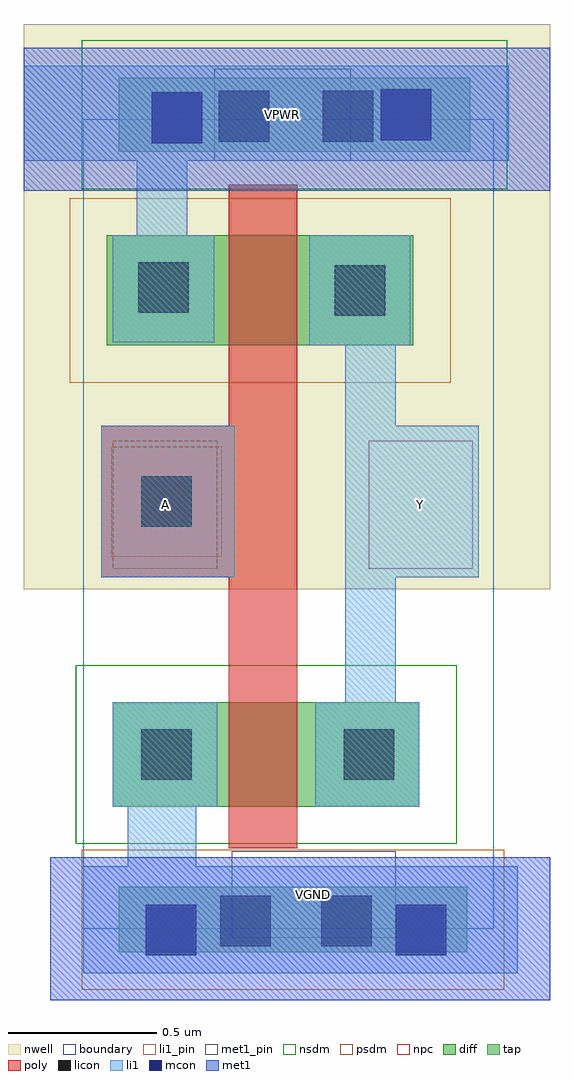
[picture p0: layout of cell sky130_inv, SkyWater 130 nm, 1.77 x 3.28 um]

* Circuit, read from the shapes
.subckt sky130_inv A VGND VPWR Y
XM1 Y A VGND VGND sky130_fd_pr__nfet_01v8 w=0.35 l=0.23
XM2 Y A VPWR VPWR sky130_fd_pr__pfet_01v8 w=0.37 l=0.23
.ends

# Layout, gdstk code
import gdstk
lib = gdstk.Library(unit=1e-6, precision=1e-09)
def R(c, l, rs):  # rectangles x0, y0, x1, y1
    for r in rs: c.add(gdstk.rectangle(r[:2], r[2:], *l))
nwell = (64, 20)
diff = (65, 20)
tap = (65, 44)
poly = (66, 20)
licon = (66, 44)
li1_pin = (67, 16)
li1 = (67, 20)
mcon = (67, 44)
met1_pin = (68, 16)
met1 = (68, 20)
nsdm = (93, 44)
psdm = (94, 20)
npc = (95, 20)
boundary = (235, 4)

sky130_inv = lib.new_cell('sky130_inv')
R(sky130_inv, nwell, [(-0.2,1.14,1.57,3.04)])
R(sky130_inv, diff, [(0.1,0.41,1.13,0.76), (0.08,1.96,1.11,2.33)])
R(sky130_inv, tap, [(0.12,-0.08,1.29,0.14), (0.12,2.61,1.3,2.86)])
R(sky130_inv, poly, [(0.49,0.27,0.72,1.18), (0.06,1.18,0.72,1.69), (0.49,1.69,0.72,2.5)])
R(sky130_inv, licon, [(0.46,-0.06,0.63,0.11), (0.8,-0.06,0.97,0.11), (0.195,0.5,0.365,0.67), (0.875,0.5,1.045,0.67), (0.195,1.35,0.365,1.52), (0.845,2.06,1.015,2.23), (0.185,2.07,0.355,2.24), (0.455,2.645,0.625,2.815), (0.805,2.645,0.975,2.815)])
R(sky130_inv, li1_pin, [(0.1,1.21,0.45,1.64), (0.96,1.21,1.31,1.64)])
R(sky130_inv, li1, [(0,-0.15,1.46,0.21), (0.15,0.21,0.38,0.41), (0.1,0.41,0.45,0.76), (0.78,0.41,1.13,0.76), (0.88,0.76,1.05,1.18), (0.06,1.18,0.51,1.69), (0.88,1.18,1.33,1.69), (0.88,1.69,1.05,1.96), (0.76,1.96,1.1,2.33), (0.1,1.97,0.44,2.33), (0.18,2.33,0.35,2.58), (-0.2,2.58,1.43,2.9)])
R(sky130_inv, mcon, [(0.21,-0.09,0.38,0.08), (1.05,-0.09,1.22,0.08), (0.23,2.64,0.4,2.81), (1,2.65,1.17,2.82)])
R(sky130_inv, met1_pin, [(0.5,-0.03,1.05,0.26), (0.44,2.58,0.9,2.89)])
R(sky130_inv, met1, [(-0.11,-0.24,1.57,0.24), (-0.2,2.48,1.57,2.96)])
R(sky130_inv, nsdm, [(-0.025,0.285,1.255,0.885), (-0.005,2.485,1.425,2.985)])
R(sky130_inv, psdm, [(-0.005,-0.205,1.415,0.265), (-0.045,1.835,1.235,2.455)])
R(sky130_inv, npc, [(0.095,1.25,0.465,1.62)])
R(sky130_inv, boundary, [(0,0,1.38,2.72)])
sky130_inv.add(gdstk.Label('A', (0.275,1.425), layer=67, texttype=5))
sky130_inv.add(gdstk.Label('Y', (1.135,1.425), layer=67, texttype=5))
sky130_inv.add(gdstk.Label('VPWR', (0.67,2.735), layer=68, texttype=5))
sky130_inv.add(gdstk.Label('VGND', (0.775,0.115), layer=68, texttype=5))

lib.write_gds('sky130_inv.gds')
